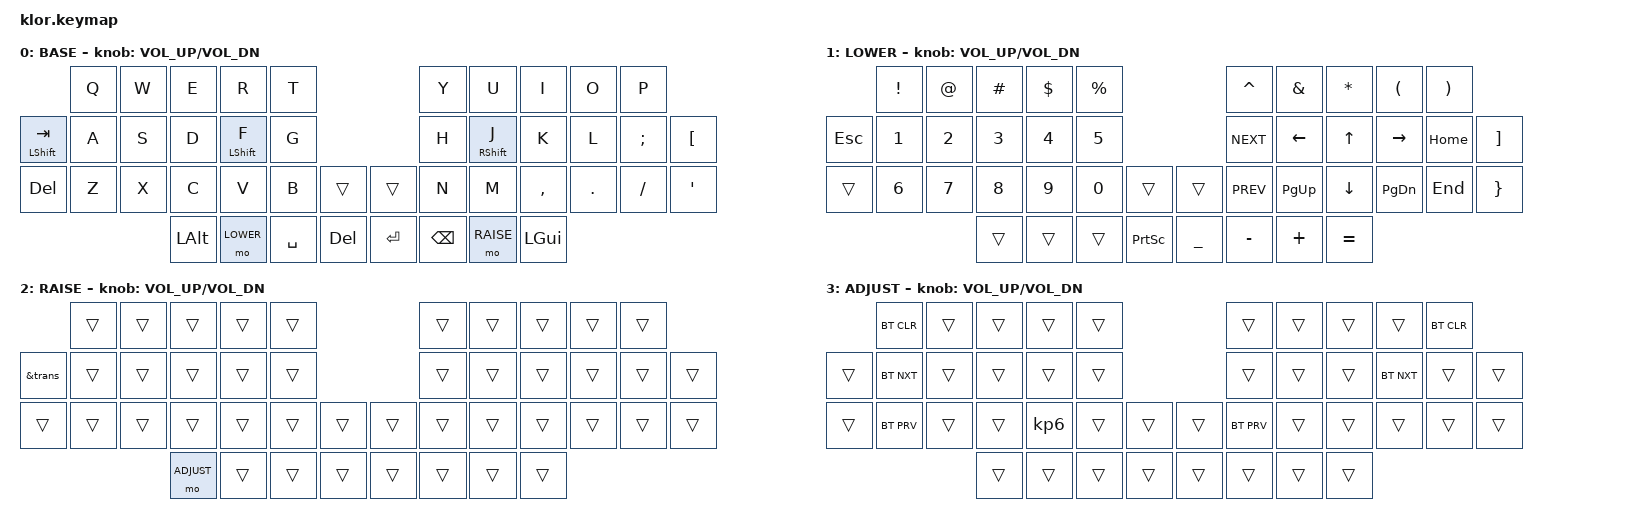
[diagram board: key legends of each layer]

//                               █         █    █            ▄▄▄▀▀▀▀▀▀▄▄▄        █▀▀▀▀▀▀▀▀▀▀█
//                               █        █     █          ▄▀            ▀▄      █          █
//                               █       █      █        ▄▀                ▀▄    █          █
//                               █      █       █        █                  █    █          █
//                               █     █        █       █                    █   █          █
//                               █    █         █       █                    █   █▄▄▄▄▄▄▄▄▄▄█
//                               █   █ █        █       █                    █   █      █
//                               █  █   █       █        █                  █    █       █
//                               █ █     █      █        ▀▄                ▄▀    █        █
//                               ██       █     █          ▀▄            ▄▀      █         █
//                               █         █    █▄▄▄▄▄▄▄▄    ▀▀▀▄▄▄▄▄▄▀▀▀        █          █
//
// ▄▄▄▄▄▄▄▄▄▄▄▄▄▄▄▄▄▄▄▄▄▄▄▄▄▄▄▄▄▄▄▄▄▄▄▄▄▄▄▄▄▄▄▄▄▄▄▄▄▄▄▄▄▄▄▄▄▄▄▄▄▄▄▄▄▄▄▄▄▄▄▄▄▄▄▄▄▄▄▄▄▄▄▄▄▄▄▄▄▄▄▄▄▄▄▄▄▄▄▄▄▄▄▄▄▄▄▄▄▄▄▄▄▄▄▄▄▄▄▄▄▄▄▄▄
       
#include <behaviors.dtsi>
#include <dt-bindings/zmk/keys.h>
#include <dt-bindings/zmk/bt.h>
#include <dt-bindings/zmk/outputs.h>
#include <dt-bindings/zmk/ext_power.h>

#define BASE   0
#define LOWER  1
#define RAISE  2
#define ADJUST 3


/ {
    behaviors {
        hm: homerow_mods {
            compatible = "zmk,behavior-hold-tap";
            label = "HOMEROW_MODS";
            #binding-cells = <2>;
            tapping-term-ms = <150>;
            quick_tap_ms = <0>;
            flavor = "tap-preferred";
            bindings = <&kp>, <&kp>;
        };

    };

     combos {
            compatible = "zmk,combos";
            combo_esc {
                timeout-ms = <50>;
                key-positions = <0 1>;
                bindings = <&kp ESC>;
            };
    };



        keymap {
                compatible = "zmk,keymap";
// ▄▄▄▄▄▄▄▄▄▄▄▄▄▄▄▄▄▄▄▄▄▄▄▄▄▄▄▄▄▄▄▄▄▄▄▄▄▄▄▄▄▄▄▄▄▄▄▄▄▄▄▄▄▄▄▄▄▄▄▄▄▄▄▄▄▄▄▄▄▄▄▄▄▄▄▄▄▄▄▄▄▄▄▄▄▄▄▄▄▄▄▄▄▄▄▄▄▄▄▄▄▄▄▄▄▄▄▄▄▄▄▄▄▄▄▄▄▄▄▄▄▄▄▄▄▄▄▄▄▄▄▄▄▄▄▄▄▄▄▄▄▄


                base_layer {
// ┌───────────────────────────────────────────────────────────┐
label= "BASE"                                                  ;
// └───────────────────────────────────────────────────────────┘
/*           ┌─────────┬─────────┬─────────┬─────────┬─────────┐                    ┌─────────┬─────────┬─────────┬─────────┬─────────┐
             │    Q    │    W    │    E    │    R    │    T    │                    │    Y    │    U    │    I    │    O    │    P    │   
   ┌─────────┼─────────┼─────────┼─────────┼─────────┼─────────┤                    ├─────────┼─────────┼─────────┼─────────┼─────────┼─────────┐
   │TAB/SHIFT│    A    │    S    │    D    │    F    │    G    │                    │    H    │    J    │    K    │    L    │    ;    │   LBKT  │
   ├─────────┼─────────┼─────────┼─────────┼─────────┼─────────┤╭────────╮╭────────╮├─────────┼─────────┼─────────┼─────────┼─────────┼─────────┤
   │   CTRL  │    Z    │    X    │    C    │    V    │    B    ││  MUTE  ││PLY/PSE ││    N    │    M    │    ,    │    .    │    /    │    '    │
   └─────────┴─────────┴─────────┼─────────┼─────────┼─────────┼╰────────╯╰────────╯┼─────────┼─────────┼─────────┼─────────┴─────────┴─────────┘
                                 │   ALT   │  LOWER  │  SPACE  │   DEL   ││  ENTER  │  BSPCE  │  RAISE  │   WIN   │  
                                 └─────────┴─────────┴─────────┴─────────┘└─────────┴─────────┴─────────┴─────────┘ */ 
 bindings = <
 //╷         ╷         ╷         ╷         ╷         ╷         ╷         ╷╷         ╷         ╷         ╷         ╷         ╷         ╷         ╷
              &kp Q     &kp W     &kp E     &kp R     &kp T                          &kp Y     &kp U     &kp I     &kp O     &kp P
&hm LSHFT TAB &kp A     &kp S     &kp D   &hm LSHFT F &kp G                          &kp H   &hm RSHFT J &kp K     &kp L     &kp SEMI   &kp LBKT
    &kp DEL   &kp Z     &kp X     &kp C     &kp V     &kp B     &trans     &trans    &kp N     &kp M     &kp COMMA &kp DOT   &kp FSLH   &kp SQT
                                  &kp LALT &mo LOWER &kp SPACE &kp DEL   &kp RET   &kp BSPC  &mo RAISE &kp LGUI    
                        >;
            sensor-bindings = <&inc_dec_kp C_VOL_UP C_VOL_DN>;
                };

// ▄▄▄▄▄▄▄▄▄▄▄▄▄▄▄▄▄▄▄▄▄▄▄▄▄▄▄▄▄▄▄▄▄▄▄▄▄▄▄▄▄▄▄▄▄▄▄▄▄▄▄▄▄▄▄▄▄▄▄▄▄▄▄▄▄▄▄▄▄▄▄▄▄▄▄▄▄▄▄▄▄▄▄▄▄▄▄▄▄▄▄▄▄▄▄▄▄▄▄▄▄▄▄▄▄▄▄▄▄▄▄▄▄▄▄▄▄▄▄▄▄▄▄▄▄▄▄▄▄▄▄▄▄▄▄▄▄▄▄▄▄▄


                lower_layer {
// ┌───────────────────────────────────────────────────────────┐
label= "LOWER"                                                 ;
// └───────────────────────────────────────────────────────────┘
/*           ┌─────────┬─────────┬─────────┬─────────┬─────────┐                    ┌─────────┬─────────┬─────────┬─────────┬─────────┐
             │    !    │    @    │    #    │    $    │    %    │                    │    ^    │    &    │    *    │    (    │    )    │
   ┌─────────┼─────────┼─────────┼─────────┼─────────┼─────────┤                    ├─────────┼─────────┼─────────┼─────────┼─────────┼─────────┐
   │   ESC   │    1    │    2    │    3    │    4    │    5    │                    │ N_Track │    ←    │    ↑    │    →    │   Home  │   RBKT  │
   ├─────────┼─────────┼─────────┼─────────┼─────────┼─────────┤╭────────╮╭────────╮├─────────┼─────────┼─────────┼─────────┼─────────┼─────────┤
   │         │    6    │    7    │    8    │    9    │    0    ││        ││        ││ P_Track │   PgUp  │    ↓    │   PgDn  │   End   │    }    │
   └─────────┴─────────┴─────────┼─────────┼─────────┼─────────┼╰────────╯╰────────╯┼─────────┼─────────┼─────────┼─────────┴─────────┴─────────┘
                                 │         │  LOWER  │         │  PSCRN  ││    _    │    -    │    +    │    =    │  
                                 └─────────┴─────────┴─────────┴─────────┘└─────────┴─────────┴─────────┴─────────┘ */ 
 bindings = <
 //╷         ╷         ╷         ╷         ╷         ╷         ╷         ╷╷         ╷         ╷         ╷         ╷         ╷         ╷         ╷
              &kp EXCL  &kp AT    &kp HASH  &kp DOLLAR &kp PERCENT                   &kp CARET &kp AMPS  &kp STAR  &kp LPAR  &kp RPAR
    &kp ESC   &kp N1    &kp N2    &kp N3    &kp N4     &kp N5                       &kp C_NEXT &kp LEFT  &kp UP    &kp RIGHT &kp HOME  &kp RBKT
    &trans    &kp N6    &kp N7    &kp N8    &kp N9     &kp N0   &trans     &trans   &kp C_PREV &kp PG_UP &kp DOWN  &kp PG_DN &kp END   &kp RBRC
                                  &trans    &trans     &trans   &kp PSCRN  &kp UNDER &kp MINUS &kp PLUS  &kp EQUAL  
                        >;
            sensor-bindings = <&inc_dec_kp C_VOL_UP C_VOL_DN>;
                };

// ▄▄▄▄▄▄▄▄▄▄▄▄▄▄▄▄▄▄▄▄▄▄▄▄▄▄▄▄▄▄▄▄▄▄▄▄▄▄▄▄▄▄▄▄▄▄▄▄▄▄▄▄▄▄▄▄▄▄▄▄▄▄▄▄▄▄▄▄▄▄▄▄▄▄▄▄▄▄▄▄▄▄▄▄▄▄▄▄▄▄▄▄▄▄▄▄▄▄▄▄▄▄▄▄▄▄▄▄▄▄▄▄▄▄▄▄▄▄▄▄▄▄▄▄▄


                raise_layer {
// ┌───────────────────────────────────────────────────────────┐
label= "RAISE"                                                 ;
// └───────────────────────────────────────────────────────────┘
/*           ┌─────────┬─────────┬─────────┬─────────┬─────────┐                    ┌─────────┬─────────┬─────────┬─────────┬─────────┐
             │         │         │         │         │         │                    │    F1   │    F2   │    F3   │    F4   │    F5   │
   ┌─────────┼─────────┼─────────┼─────────┼─────────┼─────────┤                    ├─────────┼─────────┼─────────┼─────────┼─────────┼─────────┐
   │         │         │         │         │         │         │                    │         │         │         │         │         │         │
   ├─────────┼─────────┼─────────┼─────────┼─────────┼─────────┤╭────────╮╭────────╮├─────────┼─────────┼─────────┼─────────┼─────────┼─────────┤
   │         │         │         │         │         │         ││        ││        ││         │         │         │         │         │         │
   └─────────┴─────────┴─────────┼─────────┼─────────┼─────────┼╰────────╯╰────────╯┼─────────┼─────────┼─────────┼─────────┴─────────┴─────────┘
                                 │ ADJUST  │         │         │         ││         │         │         │         │  
                                 └─────────┴─────────┴─────────┴─────────┘└─────────┴─────────┴─────────┴─────────┘ */ 
 bindings = <
 //╷         ╷         ╷         ╷         ╷         ╷         ╷         ╷╷         ╷         ╷         ╷         ╷         ╷         ╷         ╷
              &trans    &trans    &trans    &trans    &trans                         &trans    &trans    &trans    &trans    &trans     
    &&trans   &trans    &trans    &trans    &trans    &trans                         &trans    &trans    &trans    &trans    &trans    &trans  
    &trans    &trans    &trans    &trans    &trans    &trans    &trans     &trans    &trans    &trans    &trans    &trans    &trans    &trans
                                  &mo ADJUST &trans   &trans    &trans     &trans    &trans    &trans    &trans  
                        >;
                sensor-bindings = <&inc_dec_kp C_VOL_UP C_VOL_DN>;
                };

// ▄▄▄▄▄▄▄▄▄▄▄▄▄▄▄▄▄▄▄▄▄▄▄▄▄▄▄▄▄▄▄▄▄▄▄▄▄▄▄▄▄▄▄▄▄▄▄▄▄▄▄▄▄▄▄▄▄▄▄▄▄▄▄▄▄▄▄▄▄▄▄▄▄▄▄▄▄▄▄▄▄▄▄▄▄▄▄▄▄▄▄▄▄▄▄▄▄▄▄▄▄▄▄▄▄▄▄▄▄▄▄▄▄▄▄▄▄▄▄▄▄▄▄▄▄


                adjust_layer {
// ┌───────────────────────────────────────────────────────────┐
label= "ADJUST"                                                ;
// └───────────────────────────────────────────────────────────┘
/*           ┌─────────┬─────────┬─────────┬─────────┬─────────┐                    ┌─────────┬─────────┬─────────┬─────────┬─────────┐
             │         │         │         │         │         │                    │         │         │         │         │         │
   ┌─────────┼─────────┼─────────┼─────────┼─────────┼─────────┤                    ├─────────┼─────────┼─────────┼─────────┼─────────┼─────────┐
   │         │         │         │         │         │         │                    │         │         │         │         │         │         │
   ├─────────┼─────────┼─────────┼─────────┼─────────┼─────────┤╭────────╮╭────────╮├─────────┼─────────┼─────────┼─────────┼─────────┼─────────┤
   │         │         │         │         │         │         ││        ││        ││         │         │         │         │         │         │
   └─────────┴─────────┴─────────┼─────────┼─────────┼─────────┼╰────────╯╰────────╯┼─────────┼─────────┼─────────┼─────────┴─────────┴─────────┘
                                 │         │         │         │         ││         │         │         │         │  
                                 └─────────┴─────────┴─────────┴─────────┘└─────────┴─────────┴─────────┴─────────┘ */ 
 bindings = <
 //╷         ╷         ╷         ╷         ╷         ╷         ╷         ╷╷         ╷         ╷         ╷         ╷         ╷         ╷         ╷
             &bt BT_CLR &trans    &trans    &trans    &trans                         &trans    &trans    &trans    &trans    &bt BT_CLR   
    &trans   &bt BT_NXT &trans    &trans    &trans    &trans                         &trans    &trans    &trans    &bt BT_NXT &trans   &trans 
    &trans   &bt BT_PRV &trans    &trans    &kp KP_N6 &trans    &trans     &trans    &bt BT_PRV &trans   &trans    &trans    &trans    &trans    
                                  &trans    &trans    &trans    &trans     &trans    &trans    &trans    &trans    
                        >;
            sensor-bindings = <&inc_dec_kp C_VOL_UP C_VOL_DN>;
                };
        };
};
